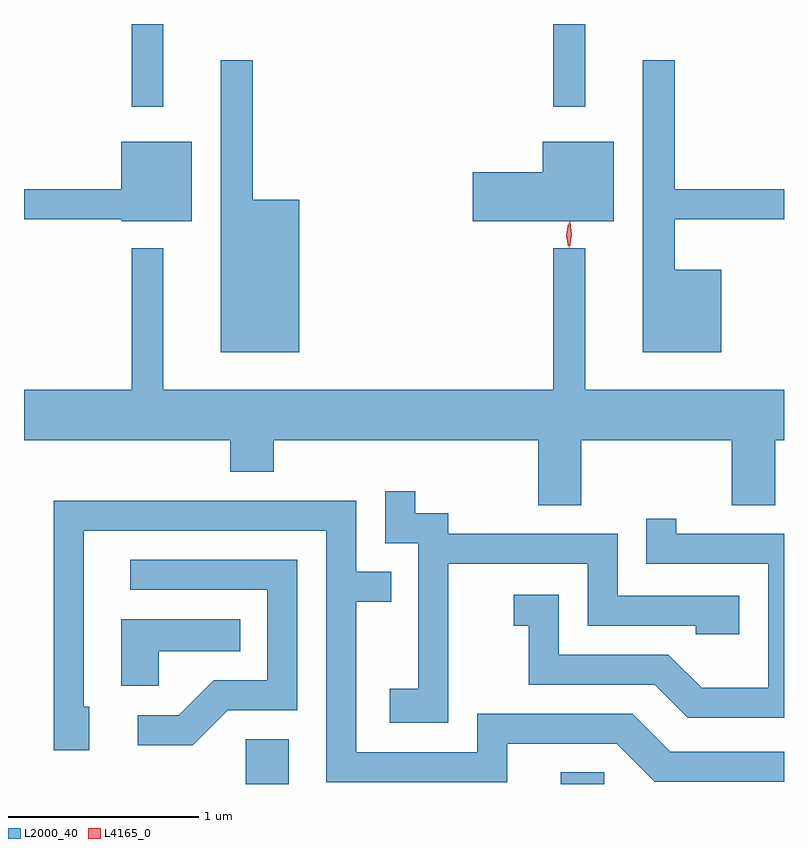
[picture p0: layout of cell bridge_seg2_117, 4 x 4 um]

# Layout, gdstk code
import gdstk
lib = gdstk.Library(unit=1e-6, precision=1e-09)
def R(c, l, rs):  # rectangles x0, y0, x1, y1
    for r in rs: c.add(gdstk.rectangle(r[:2], r[2:], *l))
def P(c, l, *ps):  # polygons
    for p in ps: c.add(gdstk.Polygon(p, *l))
L2000_40 = (2000, 40)
L4165_0 = (4165, 0)

bridge_seg2_117 = lib.new_cell('bridge_seg2_117')
R(bridge_seg2_117, L2000_40, [(906.741,1104.228,906.969,1104.464), (908.401,1104.228,908.629,1104.289), (906.141,1107.793,906.309,1108.228), (908.361,1107.793,908.529,1108.228)])
P(bridge_seg2_117, L2000_40, [(907.024,1107.304),(906.779,1107.304),(906.779,1108.038),(906.611,1108.038),(906.611,1106.501),(907.024,1106.501)],
  [(909.244,1106.934),(908.999,1106.934),(908.999,1107.201),(909.575,1107.201),(909.575,1107.359),(908.999,1107.359),(908.999,1108.038),(908.831,1108.038),(908.831,1106.501),(909.244,1106.501)],
  [(906.459,1107.609),(906.086,1107.609),(906.086,1107.359),(905.575,1107.359),(905.575,1107.201),(906.09,1107.201),(906.09,1107.191),(906.459,1107.191)],
  [(908.679,1107.609),(908.306,1107.609),(908.306,1107.449),(907.936,1107.449),(907.936,1107.191),(908.679,1107.191)],
  [(908.509,1106.036),(909.301,1106.036),(909.301,1105.696),(909.529,1105.696),(909.529,1106.036),(909.575,1106.036),(909.575,1106.304),(908.529,1106.304),(908.529,1107.048),(908.361,1107.048),(908.361,1106.304),(906.309,1106.304),(906.309,1107.048),(906.141,1107.048),(906.141,1106.304),(905.575,1106.304),(905.575,1106.036),(906.661,1106.036),(906.661,1105.871),(906.889,1105.871),(906.889,1106.036),(908.281,1106.036),(908.281,1105.696),(908.509,1105.696)],
  [(907.809,1105.386),(908.541,1105.386),(908.541,1105.061),(909.111,1105.061),(909.111,1105.016),(909.339,1105.016),(909.339,1105.219),(908.699,1105.219),(908.699,1105.544),(907.809,1105.544),(907.809,1105.654),(907.634,1105.654),(907.634,1105.768),(907.476,1105.768),(907.476,1105.496),(907.651,1105.496),(907.651,1104.729),(907.501,1104.729),(907.501,1104.551),(907.809,1104.551)],
  [(908.119,1104.441),(908.694,1104.441),(908.894,1104.241),(909.575,1104.241),(909.575,1104.399),(908.977,1104.399),(908.777,1104.599),(907.961,1104.599),(907.961,1104.394),(907.324,1104.394),(907.324,1105.186),(907.508,1105.186),(907.508,1105.344),(907.324,1105.344),(907.324,1105.719),(905.731,1105.719),(905.731,1104.406),(905.919,1104.406),(905.919,1104.634),(905.889,1104.634),(905.889,1105.561),(907.166,1105.561),(907.166,1104.236),(908.119,1104.236)],
  [(909.575,1105.544),(909.009,1105.544),(909.009,1105.623),(908.851,1105.623),(908.851,1105.386),(909.491,1105.386),(909.491,1104.734),(909.142,1104.734),(908.967,1104.909),(908.389,1104.909),(908.389,1105.224),(908.153,1105.224),(908.153,1105.061),(908.231,1105.061),(908.231,1104.751),(908.894,1104.751),(909.069,1104.576),(909.575,1104.576)],
  [(906.647,1104.616),(907.014,1104.616),(907.014,1105.409),(906.133,1105.409),(906.133,1105.251),(906.856,1105.251),(906.856,1104.774),(906.574,1104.774),(906.389,1104.589),(906.173,1104.589),(906.173,1104.431),(906.462,1104.431)],
  [(906.284,1104.926),(906.713,1104.926),(906.713,1105.094),(906.086,1105.094),(906.086,1104.746),(906.284,1104.746)])
P(bridge_seg2_117, L4165_0, [(908.447,1107.05),(908.447,1107.05),(908.438,1107.118),(908.448,1107.186),(908.449,1107.186),(908.45,1107.186),(908.458,1107.118),(908.448,1107.05)],
  [(908.439,1107.053),(908.43,1107.116),(908.439,1107.179),(908.439,1107.18),(908.44,1107.179),(908.45,1107.116),(908.44,1107.053),(908.44,1107.053)])

lib.write_gds('bridge_seg2_117.gds')
